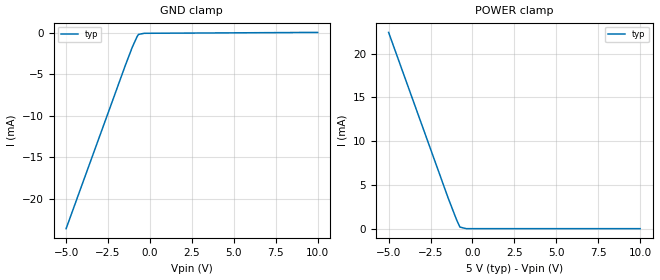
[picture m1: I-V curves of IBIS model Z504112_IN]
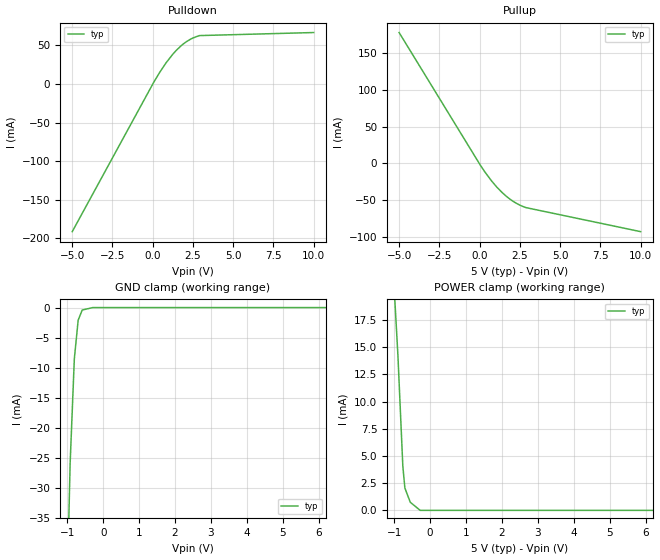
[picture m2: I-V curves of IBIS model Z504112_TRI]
| YOU ARE ONLY AUTHORIZED TO USE THIS SOFTWARE
| ACCORDING TO LICENSOR'S LICENSE RESTRICTIONS.
[IBIS Ver] 3.1
[File Name] mc54hc541j.ibs
[File Rev] 2.0
[Source] Measured and created by ICX Technology
[Date] Friday 7/14/00 9:08:07 AM
[Copyright]
| (C) COPYRIGHT 1993-2000
| MENTOR GRAPHICS CORPORATION
| ICX STANDARD LIBRARY, ICX PROJECT MODELING,
| ICX CUSTOM MODELING, ICX VENDOR MODEL
| ALL RIGHTS RESERVED.
| THE FOLLOWING ARE TRADEMARKS OR SERVICE MARKS OF
| MENTOR GRAPHICS CORPORATION:ICX (R), ICX STANDARD
| LIBRARY(R), ICX PROJECT MODELING(R), ICX CUSTOM
| MODELING(R), qualityIBIS(TM), MODELVIEWER(TM),
| AND MODELEDITOR(TM)
| ALL COPIES OF SOFTWARE, INCLUDING BUT NOT LIMITED TO
| ANY MODIFICATIONS, ENHANCEMENTS OR DERIVATIVE WORKS,
| MUST CONTAIN ALL MENTOR GRAPHICS CORPORATION'S
| NOTICES AND LEGENDS, INCLUDING THOSE EMBEDDED IN
| SOFTWARE AND THOSE AFFIXED TO SOFTWARE MEDIUM
| AND CONTAINER, AS RECEIVED FROM MENTOR GRAPHICS
| CORPORATION.
|  ZAP Model Builder 2.7
[Component] MC54HC541J
[Manufacturer] OnSemiconductor
[Package]
| variable   typ   min   max
R_pkg  .216ohms NA NA
L_pkg  5.76nH NA NA
C_pkg  2.193pF NA NA
[Pin] signal_name  model_name  R_pin  L_pin C_pin
1 _G1 Z504112_IN .232 9.76n 3.179p
2 A0 Z504112_IN .224 7.26n 2.686p
3 A1 Z504112_IN .216 5.26n 2.193p
4 A2 Z504112_IN .208 3.76n 1.7p
5 A3 Z504112_IN .2 2.76n 1.207p
6 A4 Z504112_IN .2 2.76n 1.207p
7 A5 Z504112_IN .208 3.76n 1.7p
8 A6 Z504112_IN .216 5.26n 2.193p
9 A7 Z504112_IN .224 7.26n 2.686p
10 GND GND .232 9.76n 3.179p
11 Y7 Z504112_TRI .232 9.76n 3.179p
12 Y6 Z504112_TRI .224 7.26n 2.686p
13 Y5 Z504112_TRI .216 5.26n 2.193p
14 Y4 Z504112_TRI .208 3.76n 1.7p
15 Y3 Z504112_TRI .2 2.76n 1.207p
16 Y2 Z504112_TRI .2 2.76n 1.207p
17 Y1 Z504112_TRI .208 3.76n 1.7p
18 Y0 Z504112_TRI .216 5.26n 2.193p
19 _G2 Z504112_IN .224 7.26n 2.686p
20 VCC POWER .232 9.76n 3.179p
| Models and submodels in the file (2): Z504112_IN (Input), Z504112_TRI (3-state)
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| (C) COPYRIGHT 1993-2000
| MENTOR GRAPHICS CORPORATION
| ICX STANDARD LIBRARY, ICX PROJECT MODELING,
| ICX CUSTOM MODELING, ICX VENDOR MODEL
| ALL RIGHTS RESERVED.
| THE FOLLOWING ARE TRADEMARKS OR SERVICE MARKS OF
| MENTOR GRAPHICS CORPORATION:ICX (R), ICX STANDARD
| LIBRARY(R), ICX PROJECT MODELING(R), ICX CUSTOM
| MODELING(R), qualityIBIS(TM), MODELVIEWER(TM),
| AND MODELEDITOR(TM)
| ALL COPIES OF SOFTWARE, INCLUDING BUT NOT LIMITED TO
| ANY MODIFICATIONS, ENHANCEMENTS OR DERIVATIVE WORKS,
| MUST CONTAIN ALL MENTOR GRAPHICS CORPORATION'S
| NOTICES AND LEGENDS, INCLUDING THOSE EMBEDDED IN
| SOFTWARE AND THOSE AFFIXED TO SOFTWARE MEDIUM
| AND CONTAINER, AS RECEIVED FROM MENTOR GRAPHICS
| CORPORATION.
| Model Application Version 1.89 2/18/99.
[Model] Z504112_IN
Model_type Input
Vinl = 1.000V
Vinh = 3.500V
C_comp 4.000pF NA NA
| variable typ   min   max
[Voltage Range] 5.000V NA NA
[GND Clamp Reference] 0.000V NA NA
[POWER Clamp Reference] 5.000V NA NA
[GND Clamp]
-5V       -23.62mA   NA         NA
-1.465V   -3.906mA   NA         NA
-1.049V   -1.702mA   NA         NA
-764.5mV  -439.4uA   NA         NA
-683.6mV  -185.8uA   NA         NA
-341.8mV  -45.81uA   NA         NA
10V       63.02uA    NA         NA
[POWER Clamp]
-5V       22.42mA    NA         NA
-1.435V   3.43mA     NA         NA
-938mV    974.3uA    NA         NA
-747mV    181.8uA    NA         NA
-373.5mV  0A         NA         NA
10V       0A         NA         NA
| (C) COPYRIGHT 1993-2000
| MENTOR GRAPHICS CORPORATION
| ICX STANDARD LIBRARY, ICX PROJECT MODELING,
| ICX CUSTOM MODELING, ICX VENDOR MODEL
| ALL RIGHTS RESERVED.
| THE FOLLOWING ARE TRADEMARKS OR SERVICE MARKS OF
| MENTOR GRAPHICS CORPORATION:ICX (R), ICX STANDARD
| LIBRARY(R), ICX PROJECT MODELING(R), ICX CUSTOM
| MODELING(R), qualityIBIS(TM), MODELVIEWER(TM),
| AND MODELEDITOR(TM)
| ALL COPIES OF SOFTWARE, INCLUDING BUT NOT LIMITED TO
| ANY MODIFICATIONS, ENHANCEMENTS OR DERIVATIVE WORKS,
| MUST CONTAIN ALL MENTOR GRAPHICS CORPORATION'S
| NOTICES AND LEGENDS, INCLUDING THOSE EMBEDDED IN
| SOFTWARE AND THOSE AFFIXED TO SOFTWARE MEDIUM
| AND CONTAINER, AS RECEIVED FROM MENTOR GRAPHICS
| CORPORATION.
| Model Application Version 1.89 2/18/99.
[Model] Z504112_TRI
Model_type 3-state
Vref=0.000V
Rref=500.0Mohms
Cref=50.00pF
Vmeas=2.500V
C_comp 8.000pF NA NA
| variable typ   min   max
[Voltage Range] 5.000V NA NA
[POWER Clamp Reference] 5.000V NA NA
[Pullup Reference] 5.000V NA NA
[Pulldown Reference] 0.000V NA NA
[GND Clamp Reference] 0.000V NA NA
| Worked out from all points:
|   slope of the pulldown table from 0 to 0.75 V, typ, clamps not added: 29.8 ohm
|   slope of the pullup table from 0 to 0.75 V, typ, clamps not added: 32.2 ohm
|   GND clamp passes 1 mA (typ) near -0.62 V on its own axis
|   POWER clamp passes 1 mA (typ) near -0.58 V on its own axis
[GND Clamp]
-5V       -1.053A    NA         NA
-922.1mV  -25.99mA   NA         NA
-805mV    -8.54mA    NA         NA
-698.2mV  -2.092mA   NA         NA
-585.2mV  -411.6uA   NA         NA
-292.6mV  0A         NA         NA
10V       0A         NA         NA
[Pulldown]
-5V       -191.3mA   NA         NA
102.6mV   3.782mA    NA         NA
835.3mV   27.67mA    NA         NA
1.263V    39.06mA    NA         NA
1.885V    51.7mA     NA         NA
2.358V    58.24mA    NA         NA
2.892V    62.79mA    NA         NA
10V       66.74mA    NA         NA
[Pullup]
-5V       178.3mA    NA         NA
40mV      -2.469mA   NA         NA
739mV     -24.02mA   NA         NA
1.065V    -32.49mA   NA         NA
1.67V     -45.3mA    NA         NA
2.297V    -54.8mA    NA         NA
2.871V    -60.5mA    NA         NA
10V       -93.32mA   NA         NA
[POWER Clamp]
-5V       256.2mA    NA         NA
-898mV    14.33mA    NA         NA
-760mV    4.073mA    NA         NA
-703mV    2.057mA    NA         NA
-553mV    745.5uA    NA         NA
-276.5mV  0A         NA         NA
10V       0A         NA         NA
[Ramp]
| variable typ min max
dV/dt_r 2.845/1.696n NA NA
dV/dt_f 2.845/1.632n NA NA
R_load = 500.0Ohms
